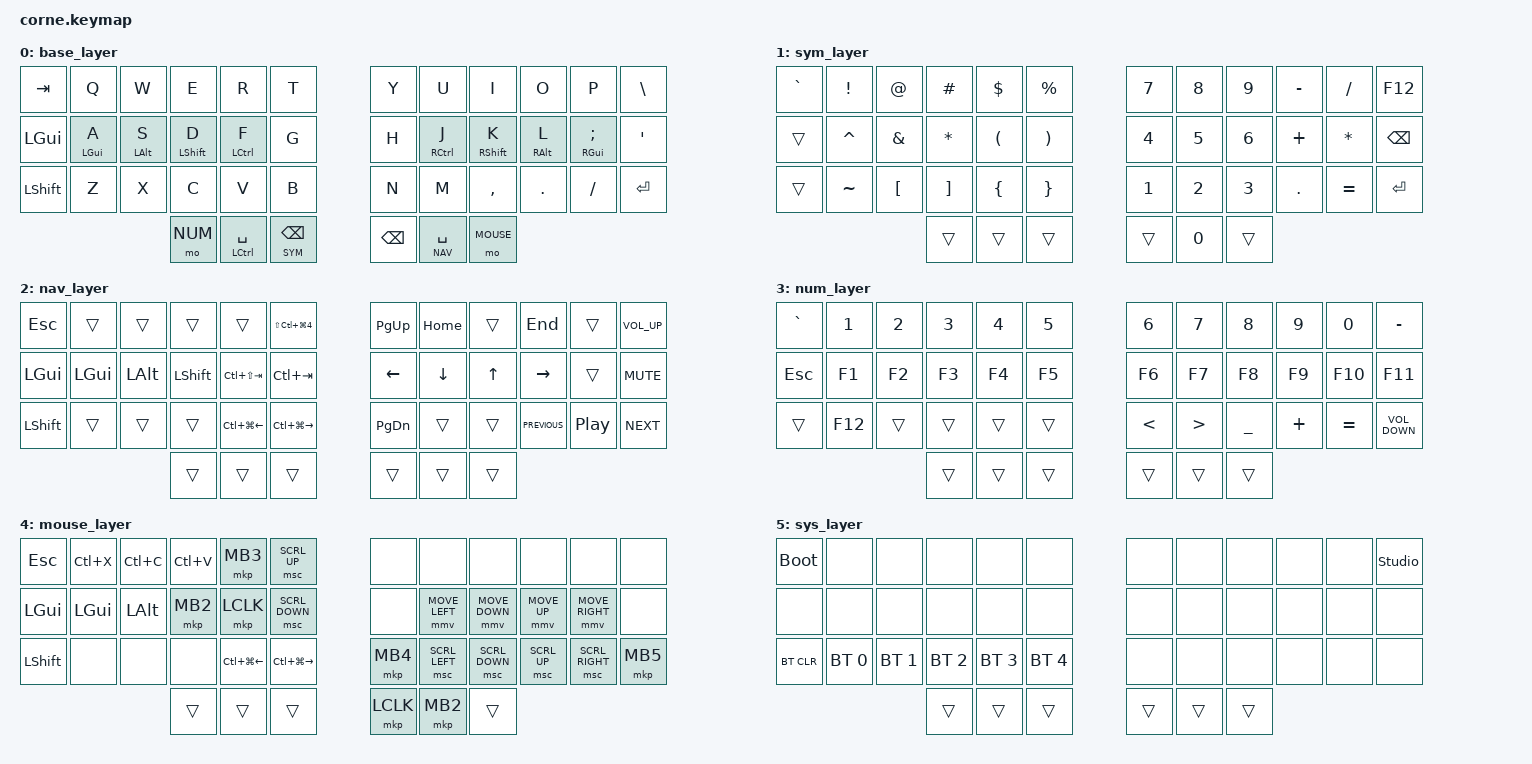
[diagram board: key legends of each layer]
/*
 * Copyright (c) 2020 The ZMK Contributors
 * SPDX-License-Identifier: MIT
 *
 * Voyager emVdK/nly7ox adaptation for a 42-key Corne, US host layout.
 * Keep the three alpha rows and four existing thumb roles. The new outer
 * thumbs hold NUM and MOUSE; the Voyager number row moves to NUM.
 * Keymapp heatmaps checked: nly7ox and DzYvbK (2026-10-11).
 */

#define BASE 0
#define SYM 1
#define NAV 2
#define NUM 3
#define MOUSE 4
#define SYS 5

#define ZMK_POINTING_DEFAULT_MOVE_VAL 800
#define ZMK_POINTING_DEFAULT_SCRL_VAL 20

#include <behaviors.dtsi>
#include <dt-bindings/zmk/bt.h>
#include <dt-bindings/zmk/keys.h>
#include <dt-bindings/zmk/pointing.h>

// Balanced approximates Voyager's permissive hold; repeat taps stay taps.
&lt {
    tapping-term-ms = <200>;
    flavor = "balanced";
    quick-tap-ms = <175>;
};

&mt {
    tapping-term-ms = <200>;
    flavor = "balanced";
    quick-tap-ms = <175>;
};

&mmv {
    acceleration-exponent = <1>;
    time-to-max-speed-ms = <500>;
    delay-ms = <0>;
};

/ {
    combos {
        compatible = "zmk,combos";

        // Same thumb pairs as Voyager, translated into Corne positions.
        escape {
            timeout-ms = <40>;
            bindings = <&kp ESC>;
            key-positions = <37 38>;
            layers = <BASE>;
        };

        delete {
            timeout-ms = <40>;
            bindings = <&kp DELETE>;
            key-positions = <39 40>;
            layers = <BASE>;
        };
    };

    behaviors {
        // Opposite-hand alpha keys and either thumb may trigger a hold.
        // Same-hand rolls resolve as taps; idle guard approximates Flow Tap.
        hml: homerow_left {
            compatible = "zmk,behavior-hold-tap";
            #binding-cells = <2>;
            tapping-term-ms = <200>;
            quick-tap-ms = <175>;
            require-prior-idle-ms = <105>;
            flavor = "balanced";
            bindings = <&kp>, <&kp>;
            hold-trigger-key-positions = <6 7 8 9 10 11 18 19 20 21 22 23 30 31 32 33 34 35 36 37 38 39 40 41>;
            hold-trigger-on-release;
        };

        hmr: homerow_right {
            compatible = "zmk,behavior-hold-tap";
            #binding-cells = <2>;
            tapping-term-ms = <200>;
            quick-tap-ms = <175>;
            require-prior-idle-ms = <105>;
            flavor = "balanced";
            bindings = <&kp>, <&kp>;
            hold-trigger-key-positions = <0 1 2 3 4 5 12 13 14 15 16 17 24 25 26 27 28 29 36 37 38 39 40 41>;
            hold-trigger-on-release;
        };
    };

    keymap {
        compatible = "zmk,keymap";

        base_layer {
            // TAB Q W E R T       Y U I O P BACKSLASH
            // GUI A S D F G       H J K L ; QUOTE
            // SFT Z X C V B       N M , . / ENTER
            //       NUM SPC BSPC  BSPC SPC MOUSE
            //           CTL SYM       NAV (hold roles)
            bindings = <
&kp TAB   &kp Q         &kp W         &kp E           &kp R          &kp T    &kp Y    &kp U          &kp I           &kp O         &kp P             &kp BACKSLASH
&kp LGUI  &hml LGUI A   &hml LALT S   &hml LSHFT D    &hml LCTRL F    &kp G    &kp H    &hmr RCTRL J   &hmr RSHFT K    &hmr RALT L   &hmr RGUI SEMI    &kp SQT
&kp LSHFT &kp Z         &kp X         &kp C           &kp V          &kp B    &kp N    &kp M          &kp COMMA       &kp DOT       &kp FSLH          &kp RET
                                     &mo NUM         &mt LCTRL SPACE &lt SYM BACKSPACE    &kp BACKSPACE  &lt NAV SPACE   &mo MOUSE
            >;
        };

        sym_layer {
            // Voyager Sym+Num alpha rows, including its right-hand numpad.
            bindings = <
&kp GRAVE &kp EXCL &kp AT    &kp HASH  &kp DLLR  &kp PRCNT    &kp N7  &kp N8  &kp N9  &kp MINUS &kp FSLH  &kp F12
&trans    &kp CARET &kp AMPS &kp ASTRK &kp LPAR  &kp RPAR     &kp N4  &kp N5  &kp N6  &kp PLUS  &kp ASTRK &kp BACKSPACE
&trans    &kp TILDE &kp LBKT &kp RBKT  &kp LBRC  &kp RBRC     &kp N1  &kp N2  &kp N3  &kp DOT   &kp EQUAL &kp RET
                            &trans    &trans    &trans      &trans  &kp N0  &trans
            >;
        };

        nav_layer {
            // Preserve Voyager H/J/K/L arrows and media keys. Explicit left
            // modifiers make selection shortcuts available without alpha taps.
            bindings = <
&kp ESC   &trans   &trans   &trans          &trans          &kp LS(LC(LG(N4)))    &kp PAGE_UP   &kp HOME &trans &kp END       &trans           &kp C_VOLUME_UP
&kp LGUI  &kp LGUI &kp LALT &kp LSHFT       &kp LC(LS(TAB)) &kp LC(TAB)          &kp LEFT      &kp DOWN &kp UP &kp RIGHT     &trans           &kp C_MUTE
&kp LSHFT &trans   &trans   &trans          &kp LC(LG(LEFT)) &kp LC(LG(RIGHT))   &kp PAGE_DOWN &trans   &trans &kp C_PREVIOUS &kp C_PLAY_PAUSE &kp C_NEXT
                            &trans          &trans          &trans                &trans        &trans   &trans
            >;
        };

        num_layer {
            // The removed Voyager row, in order; shifted numbers work normally.
            bindings = <
&kp GRAVE &kp N1 &kp N2 &kp N3 &kp N4 &kp N5    &kp N6 &kp N7 &kp N8 &kp N9 &kp N0 &kp MINUS
&kp ESC   &kp F1 &kp F2 &kp F3 &kp F4 &kp F5    &kp F6 &kp F7 &kp F8 &kp F9 &kp F10 &kp F11
&trans    &kp F12 &trans &trans &trans &trans    &kp LESS_THAN &kp GREATER_THAN &kp UNDER &kp PLUS &kp EQUAL &kp C_VOLUME_DOWN
                        &trans &trans &trans    &trans &trans &trans
            >;
        };

        mouse_layer {
            // No Navigator on Corne: explicit mouse layer, same left D/F clicks
            // and V/B workspace shortcuts, with right-hand pointer movement.
            bindings = <
&kp ESC   &kp LC(X) &kp LC(C) &kp LC(V) &mkp MB3  &msc SCRL_UP    &none &none          &none          &none        &none           &none
&kp LGUI  &kp LGUI  &kp LALT  &mkp MB2  &mkp LCLK &msc SCRL_DOWN  &none &mmv MOVE_LEFT &mmv MOVE_DOWN &mmv MOVE_UP &mmv MOVE_RIGHT &none
&kp LSHFT &none     &none     &none     &kp LC(LG(LEFT)) &kp LC(LG(RIGHT)) &mkp MB4 &msc SCRL_LEFT &msc SCRL_DOWN &msc SCRL_UP &msc SCRL_RIGHT &mkp MB5
                            &trans    &trans    &trans          &mkp LCLK &mkp MB2  &trans
            >;
        };

        sys_layer {
            // Hold both new outer thumbs (NUM + MOUSE) for board utilities.
            bindings = <
&bootloader &none        &none        &none        &none        &none    &none &none &none &none &none &studio_unlock
&none       &none        &none        &none        &none        &none    &none &none &none &none &none &none
&bt BT_CLR  &bt BT_SEL 0 &bt BT_SEL 1 &bt BT_SEL 2 &bt BT_SEL 3 &bt BT_SEL 4 &none &none &none &none &none &none
                                      &trans      &trans       &trans   &trans &trans &trans
            >;
        };
    };

    conditional_layers {
        compatible = "zmk,conditional-layers";

        utilities {
            if-layers = <NUM MOUSE>;
            then-layer = <SYS>;
        };
    };
};
